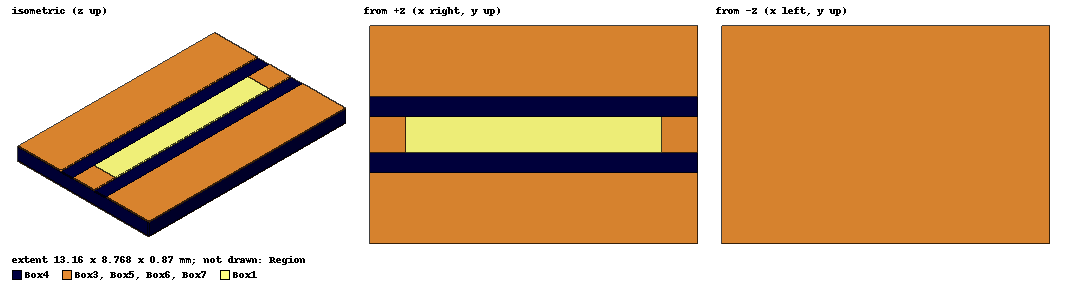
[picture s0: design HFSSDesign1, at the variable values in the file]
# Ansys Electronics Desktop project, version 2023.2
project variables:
  $l = (41.1637/4) mm
  $w = 1.43678mm
  $clearance = 0.791999mm
  $t = 0.035mm
  $h = 0.8mm
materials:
  vacuum: permittivity=1
  FR4_epoxy: permittivity=4.4 dielectric_loss_tangent=0.02
  copper: permeability=0.999991 conductivity=58000000
  air: permittivity=1.0006 permeability=1.0000004

design HFSSDesign1 (HFSS, HFSS Terminal Network, model units mm)
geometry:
  Box1 [copper] = box(corner=(-$l/2, -$w/2, 0mm), size=($l, $w, $t))
  Box2 = box(corner=(-($l+2*$w)/2, -($w+2*$clearance)/2, 0mm), size=($l+2*$w, $w+2*$clearance, $t))
  Box3 [copper] = box(corner=(-($l+2*$w)/2, -(2*$clearance+5*$w)/2, 0mm), size=($l+2*$w, 2*$clearance+5*$w, $t))
  Box3.subtract(Box2)
  Box4 [FR4_epoxy] = box(corner=(-($l+2*$w)/2, -(5*$w+2*$clearance)/2, 0mm), size=($l+2*$w, 5*$w+2*$clearance, -$h))
  Box5 [copper] = box(corner=(-($l+2*$w)/2, -($w*5+$clearance*2)/2, -$h), size=($l+2*$w, $w*5+$clearance*2, -$t))
  Region [air] = region(absolute_offset=(41.1637*2) mm on all sides)
  Box6 [copper] = box(corner=($l/2, -$w/2, 0mm), size=($w, $w, $t))
  Box7 [copper] = box(corner=(-$l/2, -$w/2, 0mm), size=(-$w, $w, $t))
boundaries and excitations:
  PerfE1: Perfect E Objects=[Box1, Box3, Box5]
  Rad1: Radiation Objects=Region
  1: Lumped Port Faces=Box6.face(+z) LumpedPortType=Modal Modes{Mode1{IntLine{(6.5822425, 0, 0.035) -> (5163.6125mm, 0mm, 35mm)} CharImp=Zpi RenormImp=50ohm}} Impedance=50ohm
  2: Lumped Port Faces=Box7.face(+z) LumpedPortType=Modal Modes{Mode1{IntLine{(-5163.6125mm, 0mm, 35mm) -> (-6563.6125mm, 0mm, 35mm)} CharImp=Zpi RenormImp=50ohm}} Impedance=50ohm
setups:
  Setup1: HfssDriven Frequency=0.868GHz MaxDeltaS=0.02 MaximumPasses=20 MinimumPasses=1 MinimumConvergedPasses=1 PercentRefinement=30 BasisOrder=1 PortAccuracy=2 DrivenSolverType="Direct Solver"
    sweep Sweep: 0GHz to 2GHz, 200 points; Type=Interpolating InterpTolerance=0.5 InterpMaxSolns=250 MinSolvedFreq=0.01GHz PassivityErrorTolerance=0.0001
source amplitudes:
  1:1: 1V 0deg
  2:1: 0V 0deg
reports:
  Terminal S Parameter Plot 1: dB(St(1,1)) vs Freq on Setup1 : Sweep
  Terminal Z Parameter Plot 1: mag(Zt(1,1)) vs Freq on Setup1 : Sweep
  Terminal S Parameter Chart 1: St(1,1) on Setup1 : Sweep [Freq=all]

design Circuit1 (Circuit)
options: SParamCircuitDef IntegrationMethod=FFT
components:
  S3 = HFSSDesign2(nport_l="(41.1637/4) mm")
  U29 = Circuit2()
  U34 = Circuit3()
  port Port1 rz=50ohm iz=0ohm EnableNoise=false noisetemp=16.85cel
  port Port2 rz=50ohm iz=0ohm EnableNoise=false noisetemp=16.85cel
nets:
  net_9: S3.1, U34.1
  Port1: U34.0
  Port2: S3.2
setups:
  LinearFrequency1: LinearFrequencyData(false, 0.1, false, "", false) SweepDefinition{Variable=Freq Data="LINC 0GHz 1.6GHz 401"}
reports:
  S Parameter Chart 1: S(Port1,Port1) on LinearFrequency1 : LinearFrequency1 [Freq=all]
  S-Parameters: S(Port1,Port1) on LinearFrequency1 : LinearFrequency1 [Freq=all]
  S Parameter Plot 1: dB(S(Port1,Port1)) vs Freq on LinearFrequency1 : LinearFrequency1; markers m1 at 0.692GHz, MX1 at x=8.68e+08, MY1 at y=-10
  Z Parameter Plot 1: mag(Z(Port1,Port1)) vs Freq on LinearFrequency1 : LinearFrequency1; markers MX1 at x=8.68e+08, MY1 at y=50
  S-Parameters1: S(Port1,Port1) on LinearFrequency1 : LinearFrequency1 [Freq=all]
  Z Parameter Table 1: mag(Z(Port1,Port1)) vs Freq on LinearFrequency1 : LinearFrequency1
  S-Parameters2: S(Port1,Port1) on LinearFrequency1 : LinearFrequency1 [Freq=all]

design Circuit2 (Circuit)
options: SParamCircuitDef IntegrationMethod=FFT
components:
  C30 = CAP_(C=9.1pF)
  R31 = RES_(R=50ohm)
  L32 = IND_(L=4.7nH)
  port Port1 rz=50ohm iz=0ohm EnableNoise=false noisetemp=16.85cel
  port Port2 rz=50ohm iz=0ohm EnableNoise=false noisetemp=16.85cel
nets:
  net_1: C30.1, R31.0
  net_2: L32.0, R31.1
  Port1: C30.0
  Port2: L32.1

design Circuit3 (Circuit)
options: SParamCircuitDef IntegrationMethod=FFT
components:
  C35 = CAP_(C=14.08pF)
  R36 = RES_(R=49.96ohm)
  L37 = IND_(L=3.11nH)
  port Port1 rz=50ohm iz=0ohm EnableNoise=false noisetemp=16.85cel
  port Port2 rz=50ohm iz=0ohm EnableNoise=false noisetemp=16.85cel
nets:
  net_1: R36.0, C35.1
  net_2: R36.1, L37.0
  Port1: C35.0
  Port2: L37.1
